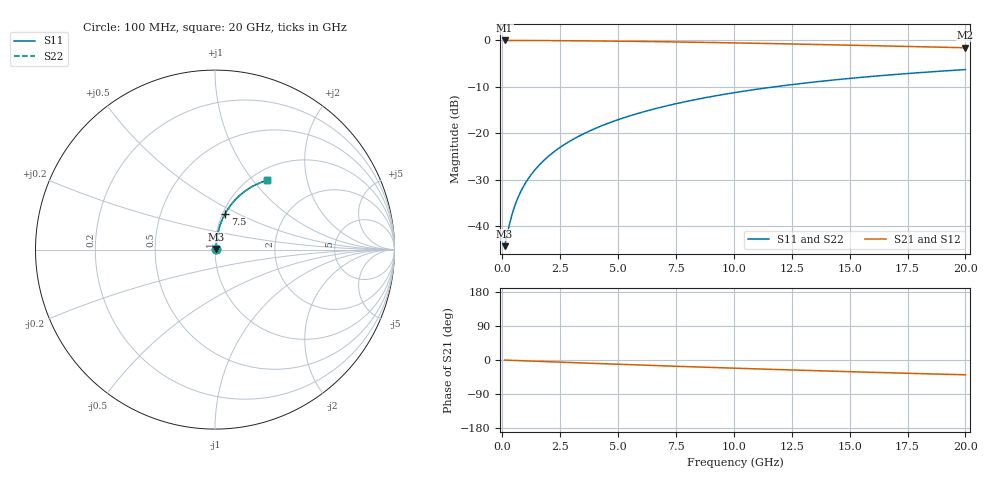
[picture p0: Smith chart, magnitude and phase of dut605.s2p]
! Touchstone file exported from HFSS 2024.1.0
!  File:  C:/UserFiles/LocalFiles/RDL_TSV_Batchsim/temp_RDL_bottom_605_1779783373.aedt
!  Generated:  04:18:48 PM May 26, 2026
!  Design:  RDL_bottom
!  Project:  temp_RDL_bottom_605_1779783373
!  Setup:  Setup1
!  Solution:  Sweep
! Variables:
!  dtsv = 10.80580581um
!  hbump = 3um
!  htsv = 51.09um
!  ldown = 440.64um
!  lrdl = 100um
!  p = 40
!  p1 = 57.8um
!  rhole = 1um
!  t = 450um
!  tdown = 2.59um
!  trdl = 3.915915916um
!  wdown = 11.44um
!  wrdl = 20um
# GHz S MA R 50.000000
! Terminal data exported
! Port[1] = RDL1_T1
! Port[2] = RDL1_T2
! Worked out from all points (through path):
!   200 points, 100 MHz to 20 GHz, reference 50 ohm
!   highest |S21| = -0.05 dB at 100 MHz (marker M1); lowest = -1.6 dB at 20 GHz (marker M2)
!   group delay of S21, straight-line fit = 5.43 ps
!   lowest |S11| = -44.3 dB at 100 MHz (marker M3), VSWR 1.01, Z = 50.5 + j0.292 ohm
!   |S11| at or under -10 dB: start of sweep to 11.78 GHz
!   |S22| runs from -44.3 to -6.3 dB; largest |S21 - S12| = 4.1e-15
!   S11 on the Smith chart (normalised r, x): 100 MHz: 1.01, +0.01; 7.5 GHz: 1.03, +0.43; 20 GHz: 1.18, +1.19
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0.1  0.006101 28.3  0.9946 -0.2  0.9946 -0.2  0.006101 28.3
! Gamma 0 0 0 0
! Port Impedance 50 0 50 0
0.3  0.01026 57.4  0.9945 -0.7  0.9945 -0.7  0.01026 57.4
0.4  0.01282 63.8  0.9944 -0.9  0.9944 -0.9  0.01282 63.8
0.5  0.01547 68.0  0.9942 -1.2  0.9942 -1.2  0.01547 68.0
0.6  0.01817 70.8  0.9941 -1.4  0.9941 -1.4  0.01817 70.8
0.7  0.0209 72.9  0.9939 -1.6  0.9939 -1.6  0.0209 72.9
0.9  0.02638 75.6  0.9936 -2.1  0.9936 -2.1  0.02638 75.6
1.2  0.03463 77.9  0.993 -2.8  0.993 -2.8  0.03463 77.9
1.4  0.04014 78.8  0.9926 -3.2  0.9926 -3.2  0.04014 78.8
1.7  0.04842 79.6  0.9918 -3.9  0.9918 -3.9  0.04842 79.6
2.2  0.06225 80.3  0.9904 -5.0  0.9904 -5.0  0.06225 80.3
2.8  0.07889 80.3  0.9883 -6.4  0.9883 -6.4  0.07889 80.3
3.5  0.09832 79.9  0.9854 -7.9  0.9854 -7.9  0.09832 79.9
4.2  0.1177 79.2  0.9819 -9.5  0.9819 -9.5  0.1177 79.2
5  0.1398 78.2  0.9773 -11.2  0.9773 -11.2  0.1398 78.2
5.9  0.1645 76.9  0.9713 -13.2  0.9713 -13.2  0.1645 76.9
6.8  0.189 75.4  0.9648 -15.1  0.9648 -15.1  0.189 75.4
7.5  0.2077 74.2  0.9592 -16.5  0.9592 -16.5  0.2077 74.2
10.1  0.2751 69.6  0.936 -21.8  0.936 -21.8  0.2751 69.6
13.4  0.3536 63.8  0.9025 -28.0  0.9025 -28.0  0.3536 63.8
16.7  0.4232 58.2  0.8665 -33.8  0.8665 -33.8  0.4232 58.2
20  0.4836 53.0  0.83 -39.1  0.83 -39.1  0.4835 53.0
